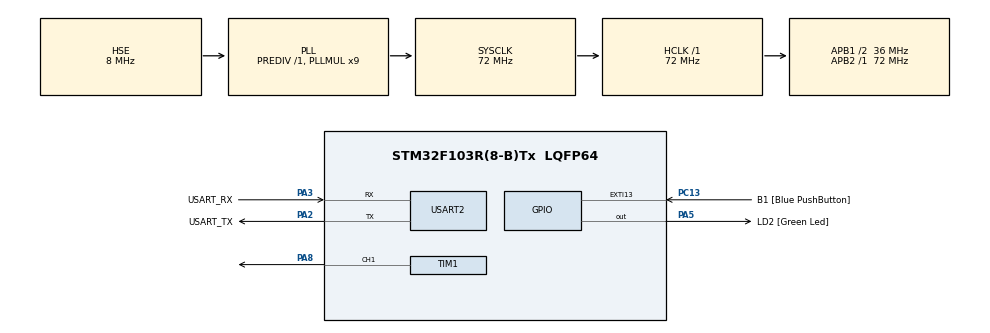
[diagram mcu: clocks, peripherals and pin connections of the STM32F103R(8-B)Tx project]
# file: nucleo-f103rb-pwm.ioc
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Dma.Request0=TIM1_CH1
Dma.TIM1_CH1.0.Direction=DMA_MEMORY_TO_PERIPH
Dma.TIM1_CH1.0.Instance=DMA1_Channel2
Dma.TIM1_CH1.0.MemDataAlignment=DMA_MDATAALIGN_HALFWORD
Dma.TIM1_CH1.0.MemInc=DMA_MINC_ENABLE
Dma.TIM1_CH1.0.Mode=DMA_NORMAL
Dma.TIM1_CH1.0.PeriphDataAlignment=DMA_PDATAALIGN_HALFWORD
Dma.TIM1_CH1.0.PeriphInc=DMA_PINC_DISABLE
Dma.TIM1_CH1.0.Priority=DMA_PRIORITY_LOW
Mcu.Family=STM32F1
Mcu.Name=STM32F103R(8-B)Tx
Mcu.Package=LQFP64
NVIC.DMA1_Channel2_IRQn=true\:0\:0\:false\:false\:true\:false\:true\:true
NVIC.EXTI15_10_IRQn=true\:0\:0\:false\:false\:true\:true\:true\:true
NVIC.PriorityGroup=NVIC_PRIORITYGROUP_4
PA13.GPIO_Label=TMS
PA13.Mode=Serial_Wire
PA13.Signal=SYS_JTMS-SWDIO
PA14.GPIO_Label=TCK
PA14.Mode=Serial_Wire
PA14.Signal=SYS_JTCK-SWCLK
PA2.GPIO_Label=USART_TX
PA2.GPIO_Mode=GPIO_MODE_AF_PP
PA2.GPIO_PuPd=GPIO_NOPULL
PA2.GPIO_Speed=GPIO_SPEED_FREQ_LOW
PA2.Mode=Asynchronous
PA2.Signal=USART2_TX
PA3.GPIO_Label=USART_RX
PA3.GPIO_Mode=GPIO_MODE_AF_PP
PA3.GPIO_PuPd=GPIO_NOPULL
PA3.GPIO_Speed=GPIO_SPEED_FREQ_LOW
PA3.Mode=Asynchronous
PA3.Signal=USART2_RX
PA5.GPIO_Label=LD2 [Green Led]
PA5.GPIO_ModeDefaultOutputPP=GPIO_MODE_OUTPUT_PP
PA5.GPIO_PuPd=GPIO_NOPULL
PA5.GPIO_Speed=GPIO_SPEED_FREQ_LOW
PA5.Signal=GPIO_Output
PA8.Signal=S_TIM1_CH1
PB3.GPIO_Label=SWO
PB3.Signal=SYS_JTDO-TRACESWO
PC13-TAMPER-RTC.GPIO_Label=B1 [Blue PushButton]
PC13-TAMPER-RTC.GPIO_PuPd=GPIO_NOPULL
PC13-TAMPER-RTC.Signal=GPXTI13
PC14-OSC32_IN.Mode=LSE-External-Oscillator
PC14-OSC32_IN.Signal=RCC_OSC32_IN
PC15-OSC32_OUT.Mode=LSE-External-Oscillator
PC15-OSC32_OUT.Signal=RCC_OSC32_OUT
PD0-OSC_IN.Mode=HSE-External-Clock-Source
PD0-OSC_IN.Signal=RCC_OSC_IN
PD1-OSC_OUT.Mode=HSE-External-Clock-Source
PD1-OSC_OUT.Signal=RCC_OSC_OUT
ProjectManager.HeapSize=0x200
ProjectManager.StackSize=0x400
ProjectManager.TargetToolchain=STM32CubeIDE
RCC.AHBFreq_Value=72000000
RCC.APB1CLKDivider=RCC_HCLK_DIV2
RCC.APB1Freq_Value=36000000
RCC.APB1TimFreq_Value=72000000
RCC.APB2Freq_Value=72000000
RCC.APB2TimFreq_Value=72000000
RCC.HCLKFreq_Value=72000000
RCC.PLLMUL=RCC_PLL_MUL9
RCC.PLLSourceVirtual=RCC_PLLSOURCE_HSE
RCC.RTCClockSelection=RCC_RTCCLKSOURCE_LSE
RCC.SYSCLKFreq_VALUE=72000000
RCC.SYSCLKSource=RCC_SYSCLKSOURCE_PLLCLK
RCC.USBFreq_Value=72000000
SH.S_TIM1_CH1.0=TIM1_CH1,PWM Generation1 CH1
TIM1.AutoReloadPreload=TIM_AUTORELOAD_PRELOAD_DISABLE
TIM1.Channel-PWM\ Generation1\ CH1=TIM_CHANNEL_1
TIM1.Period=90
USART2.VirtualMode=VM_ASYNC
VP_TIM1_VS_ClockSourceINT.Mode=Internal
board=NUCLEO-F103RB

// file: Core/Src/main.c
/* USER CODE BEGIN Header */
/**
  ******************************************************************************
  * @file           : main.c
  * @brief          : Main program body
  ******************************************************************************
  * @attention
  *
  * Copyright (c) 2025 STMicroelectronics.
  * All rights reserved.
  *
  * This software is licensed under terms that can be found in the LICENSE file
  * in the root directory of this software component.
  * If no LICENSE file comes with this software, it is provided AS-IS.
  *
  ******************************************************************************
  */
/* USER CODE END Header */
#include "main.h"

/* USER CODE BEGIN Includes */
#include "math.h"
/* USER CODE END Includes */

TIM_HandleTypeDef htim1;
DMA_HandleTypeDef hdma_tim1_ch1;

UART_HandleTypeDef huart2;

void SystemClock_Config(void);
static void MX_GPIO_Init(void);
static void MX_DMA_Init(void);
static void MX_USART2_UART_Init(void);
static void MX_TIM1_Init(void);

/* USER CODE BEGIN 0 */

#define MAX_LED 8
#define USE_BRIGHTNESS 1
#define PI 3.141592
uint8_t LED_DATA[MAX_LED][4];
uint8_t LED_MOD[MAX_LED][4];	//Modified to brightness requirement

int dataSentFlag = 0; 			//Will be set high once DMA is stopped

void HAL_TIM_PWM_PulseFinishedCallback(TIM_HandleTypeDef *htim)
{
	HAL_TIM_PWM_Stop_DMA(&htim1, TIM_CHANNEL_1);
	dataSentFlag = 1;
}

void Set_LED (int LED_NUM, int RED, int GREEN, int BLUE)
{
	LED_DATA[LED_NUM][0] = LED_NUM;
	LED_DATA[LED_NUM][1] = GREEN;
	LED_DATA[LED_NUM][2] = RED;
	LED_DATA[LED_NUM][3] = BLUE;
}

void SET_BRIGHTNESS (int BRIGHTNESS)
{
#if USE_BRIGHTNESS
	if (BRIGHTNESS > 45) BRIGHTNESS = 45;
	for(int i = 0; i<MAX_LED; i++){
		LED_MOD[i][0] = LED_DATA[i][0];
		for(int j = 0; j < 4; j ++){
			float ANG = 90-BRIGHTNESS;
			ANG = ANG*PI/180;
			LED_MOD[i][j] = (LED_DATA[i][j])/tan(ANG);

		}
	}
#endif
}

uint16_t pwmData[24*MAX_LED + 50];

void WS1282B_SEND (void){
	uint32_t idx = 0;
	uint32_t color;

	for(int i=0; i < MAX_LED; i++){
		color = (LED_MOD[i][1] << 16) | (LED_MOD[i][2] << 8) | (LED_MOD[i][3]);

		for(int j = 23; j> 0; j--){
			if(color&(1<<j)) pwmData[idx] = 60;
			else pwmData[idx] = 20;

			idx++;
		}
	}

	for(int i = 24; i<74; i++){
		pwmData[i] = 0;
	}

	HAL_TIM_PWM_Start_DMA(&htim1, TIM_CHANNEL_1, (uint32_t *) pwmData, (24*MAX_LED	+50));
	while(!dataSentFlag){};
	dataSentFlag = 0;

}

/* USER CODE END 0 */

int main(void)
{

  /* MCU Configuration--------------------------------------------------------*/

  /* Reset of all peripherals, Initializes the Flash interface and the Systick. */
  HAL_Init();

  /* Configure the system clock */
  SystemClock_Config();

  /* Initialize all configured peripherals */
  MX_GPIO_Init();
  MX_DMA_Init();
  MX_USART2_UART_Init();
  MX_TIM1_Init();
  /* USER CODE BEGIN 2 */

  Set_LED(0, 255, 0, 0);
  Set_LED(1, 0, 255, 0);
  Set_LED(2, 0, 0, 255);

  SET_BRIGHTNESS(45);
  WS1282B_SEND();

  /* USER CODE END 2 */

  /* Infinite loop */
  while (1)
  {

  }
}

void SystemClock_Config(void)
{
  RCC_OscInitTypeDef RCC_OscInitStruct = {0};
  RCC_ClkInitTypeDef RCC_ClkInitStruct = {0};

  /** Initializes the RCC Oscillators according to the specified parameters
  * in the RCC_OscInitTypeDef structure.
  */
  RCC_OscInitStruct.OscillatorType = RCC_OSCILLATORTYPE_HSE;
  RCC_OscInitStruct.HSEState = RCC_HSE_BYPASS;
  RCC_OscInitStruct.HSEPredivValue = RCC_HSE_PREDIV_DIV1;
  RCC_OscInitStruct.HSIState = RCC_HSI_ON;
  RCC_OscInitStruct.PLL.PLLState = RCC_PLL_ON;
  RCC_OscInitStruct.PLL.PLLSource = RCC_PLLSOURCE_HSE;
  RCC_OscInitStruct.PLL.PLLMUL = RCC_PLL_MUL9;
  if (HAL_RCC_OscConfig(&RCC_OscInitStruct) != HAL_OK)
  {
    Error_Handler();
  }

  /** Initializes the CPU, AHB and APB buses clocks
  */
  RCC_ClkInitStruct.ClockType = RCC_CLOCKTYPE_HCLK|RCC_CLOCKTYPE_SYSCLK
                              |RCC_CLOCKTYPE_PCLK1|RCC_CLOCKTYPE_PCLK2;
  RCC_ClkInitStruct.SYSCLKSource = RCC_SYSCLKSOURCE_PLLCLK;
  RCC_ClkInitStruct.AHBCLKDivider = RCC_SYSCLK_DIV1;
  RCC_ClkInitStruct.APB1CLKDivider = RCC_HCLK_DIV2;
  RCC_ClkInitStruct.APB2CLKDivider = RCC_HCLK_DIV1;

  if (HAL_RCC_ClockConfig(&RCC_ClkInitStruct, FLASH_LATENCY_2) != HAL_OK)
  {
    Error_Handler();
  }
}

static void MX_TIM1_Init(void)
{

  TIM_ClockConfigTypeDef sClockSourceConfig = {0};
  TIM_MasterConfigTypeDef sMasterConfig = {0};
  TIM_OC_InitTypeDef sConfigOC = {0};
  TIM_BreakDeadTimeConfigTypeDef sBreakDeadTimeConfig = {0};

  htim1.Instance = TIM1;
  htim1.Init.Prescaler = 0;
  htim1.Init.CounterMode = TIM_COUNTERMODE_UP;
  htim1.Init.Period = 90;
  htim1.Init.ClockDivision = TIM_CLOCKDIVISION_DIV1;
  htim1.Init.RepetitionCounter = 0;
  htim1.Init.AutoReloadPreload = TIM_AUTORELOAD_PRELOAD_DISABLE;
  if (HAL_TIM_Base_Init(&htim1) != HAL_OK)
  {
    Error_Handler();
  }
  sClockSourceConfig.ClockSource = TIM_CLOCKSOURCE_INTERNAL;
  if (HAL_TIM_ConfigClockSource(&htim1, &sClockSourceConfig) != HAL_OK)
  {
    Error_Handler();
  }
  if (HAL_TIM_PWM_Init(&htim1) != HAL_OK)
  {
    Error_Handler();
  }
  sMasterConfig.MasterOutputTrigger = TIM_TRGO_RESET;
  sMasterConfig.MasterSlaveMode = TIM_MASTERSLAVEMODE_DISABLE;
  if (HAL_TIMEx_MasterConfigSynchronization(&htim1, &sMasterConfig) != HAL_OK)
  {
    Error_Handler();
  }
  sConfigOC.OCMode = TIM_OCMODE_PWM1;
  sConfigOC.Pulse = 0;
  sConfigOC.OCPolarity = TIM_OCPOLARITY_HIGH;
  sConfigOC.OCNPolarity = TIM_OCNPOLARITY_HIGH;
  sConfigOC.OCFastMode = TIM_OCFAST_DISABLE;
  sConfigOC.OCIdleState = TIM_OCIDLESTATE_RESET;
  sConfigOC.OCNIdleState = TIM_OCNIDLESTATE_RESET;
  if (HAL_TIM_PWM_ConfigChannel(&htim1, &sConfigOC, TIM_CHANNEL_1) != HAL_OK)
  {
    Error_Handler();
  }
  sBreakDeadTimeConfig.OffStateRunMode = TIM_OSSR_DISABLE;
  sBreakDeadTimeConfig.OffStateIDLEMode = TIM_OSSI_DISABLE;
  sBreakDeadTimeConfig.LockLevel = TIM_LOCKLEVEL_OFF;
  sBreakDeadTimeConfig.DeadTime = 0;
  sBreakDeadTimeConfig.BreakState = TIM_BREAK_DISABLE;
  sBreakDeadTimeConfig.BreakPolarity = TIM_BREAKPOLARITY_HIGH;
  sBreakDeadTimeConfig.AutomaticOutput = TIM_AUTOMATICOUTPUT_DISABLE;
  if (HAL_TIMEx_ConfigBreakDeadTime(&htim1, &sBreakDeadTimeConfig) != HAL_OK)
  {
    Error_Handler();
  }
  HAL_TIM_MspPostInit(&htim1);

}

static void MX_USART2_UART_Init(void)
{

  huart2.Instance = USART2;
  huart2.Init.BaudRate = 115200;
  huart2.Init.WordLength = UART_WORDLENGTH_8B;
  huart2.Init.StopBits = UART_STOPBITS_1;
  huart2.Init.Parity = UART_PARITY_NONE;
  huart2.Init.Mode = UART_MODE_TX_RX;
  huart2.Init.HwFlowCtl = UART_HWCONTROL_NONE;
  huart2.Init.OverSampling = UART_OVERSAMPLING_16;
  if (HAL_UART_Init(&huart2) != HAL_OK)
  {
    Error_Handler();
  }

}

static void MX_DMA_Init(void)
{

  /* DMA controller clock enable */
  __HAL_RCC_DMA1_CLK_ENABLE();

  /* DMA interrupt init */
  /* DMA1_Channel2_IRQn interrupt configuration */
  HAL_NVIC_SetPriority(DMA1_Channel2_IRQn, 0, 0);
  HAL_NVIC_EnableIRQ(DMA1_Channel2_IRQn);

}

static void MX_GPIO_Init(void)
{
  GPIO_InitTypeDef GPIO_InitStruct = {0};

  /* GPIO Ports Clock Enable */
  __HAL_RCC_GPIOC_CLK_ENABLE();
  __HAL_RCC_GPIOD_CLK_ENABLE();
  __HAL_RCC_GPIOA_CLK_ENABLE();
  __HAL_RCC_GPIOB_CLK_ENABLE();

  /*Configure GPIO pin Output Level */
  HAL_GPIO_WritePin(LD2_GPIO_Port, LD2_Pin, GPIO_PIN_RESET);

  /*Configure GPIO pin : B1_Pin */
  GPIO_InitStruct.Pin = B1_Pin;
  GPIO_InitStruct.Mode = GPIO_MODE_IT_RISING;
  GPIO_InitStruct.Pull = GPIO_NOPULL;
  HAL_GPIO_Init(B1_GPIO_Port, &GPIO_InitStruct);

  /*Configure GPIO pin : LD2_Pin */
  GPIO_InitStruct.Pin = LD2_Pin;
  GPIO_InitStruct.Mode = GPIO_MODE_OUTPUT_PP;
  GPIO_InitStruct.Pull = GPIO_NOPULL;
  GPIO_InitStruct.Speed = GPIO_SPEED_FREQ_LOW;
  HAL_GPIO_Init(LD2_GPIO_Port, &GPIO_InitStruct);

  /* EXTI interrupt init*/
  HAL_NVIC_SetPriority(EXTI15_10_IRQn, 0, 0);
  HAL_NVIC_EnableIRQ(EXTI15_10_IRQn);

}

void Error_Handler(void)
{
  __disable_irq();
  while (1)
  {
  }
}
